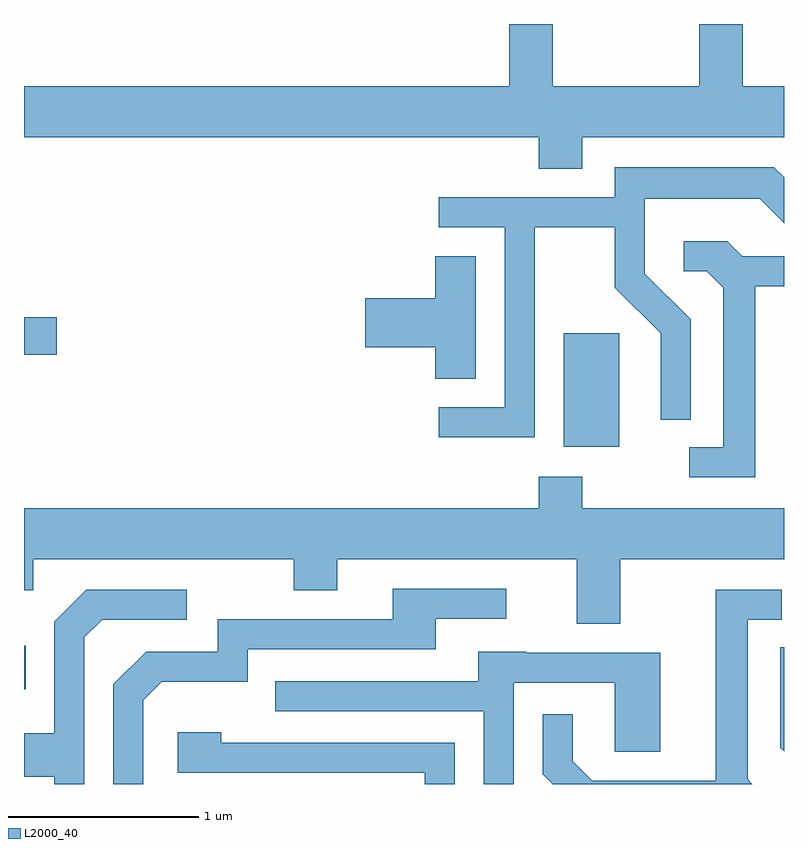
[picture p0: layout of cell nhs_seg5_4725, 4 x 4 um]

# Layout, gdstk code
import gdstk
lib = gdstk.Library(unit=1e-6, precision=1e-09)
def R(c, l, rs):  # rectangles x0, y0, x1, y1
    for r in rs: c.add(gdstk.rectangle(r[:2], r[2:], *l))
def P(c, l, *ps):  # polygons
    for p in ps: c.add(gdstk.Polygon(p, *l))
L2000_40 = (2000, 40)

nhs_seg5_4725 = lib.new_cell('nhs_seg5_4725')
R(nhs_seg5_4725, L2000_40, [(325.611,1440.571,325.619,1440.799), (328.451,1441.846,328.744,1442.444), (325.611,1442.331,325.784,1442.529)])
P(nhs_seg5_4725, L2000_40, [(328.321,1443.311),(328.549,1443.311),(328.549,1443.476),(329.611,1443.476),(329.611,1443.744),(329.394,1443.744),(329.394,1444.072),(329.166,1444.072),(329.166,1443.744),(328.394,1443.744),(328.394,1444.072),(328.166,1444.072),(328.166,1443.744),(325.611,1443.744),(325.611,1443.476),(328.321,1443.476)],
  [(328.299,1443.001),(328.721,1443.001),(328.721,1442.684),(328.961,1442.444),(328.961,1441.988),(329.119,1441.988),(329.119,1442.517),(328.879,1442.757),(328.879,1443.151),(329.484,1443.151),(329.611,1443.024),(329.611,1443.265),(329.557,1443.319),(328.721,1443.319),(328.721,1443.159),(327.793,1443.159),(327.793,1443.001),(328.141,1443.001),(328.141,1442.054),(327.793,1442.054),(327.793,1441.896),(328.299,1441.896)],
  [(329.459,1442.691),(329.611,1442.691),(329.611,1442.849),(329.392,1442.849),(329.312,1442.929),(329.083,1442.929),(329.083,1442.771),(329.204,1442.771),(329.291,1442.684),(329.291,1441.844),(329.113,1441.844),(329.113,1441.686),(329.459,1441.686)],
  [(327.989,1442.849),(327.776,1442.849),(327.776,1442.629),(327.406,1442.629),(327.406,1442.371),(327.776,1442.371),(327.776,1442.206),(327.989,1442.206)],
  [(328.749,1441.256),(329.611,1441.256),(329.611,1441.524),(328.549,1441.524),(328.549,1441.689),(328.321,1441.689),(328.321,1441.524),(325.611,1441.524),(325.611,1441.091),(325.659,1441.091),(325.659,1441.256),(327.031,1441.256),(327.031,1441.091),(327.259,1441.091),(327.259,1441.256),(328.521,1441.256),(328.521,1440.916),(328.749,1440.916)],
  [(326.239,1440.514),(326.337,1440.611),(326.789,1440.611),(326.789,1440.781),(327.779,1440.781),(327.779,1440.941),(328.148,1440.941),(328.148,1441.099),(327.551,1441.099),(327.551,1440.939),(326.631,1440.939),(326.631,1440.769),(326.254,1440.769),(326.081,1440.597),(326.081,1440.072),(326.239,1440.072)],
  [(325.929,1440.844),(326.022,1440.936),(326.468,1440.936),(326.468,1441.094),(325.939,1441.094),(325.771,1440.927),(325.771,1440.339),(325.611,1440.339),(325.611,1440.111),(325.771,1440.111),(325.771,1440.072),(325.929,1440.072)],
  [(329.419,1440.097),(329.419,1440.936),(329.598,1440.936),(329.598,1441.094),(329.251,1441.094),(329.251,1440.089),(328.602,1440.089),(328.499,1440.192),(328.499,1440.438),(328.341,1440.438),(328.341,1440.124),(328.393,1440.072),(329.444,1440.072)],
  [(329.611,1440.793),(329.591,1440.793),(329.591,1440.264),(329.611,1440.244)],
  [(328.189,1440.606),(328.721,1440.606),(328.721,1440.241),(328.959,1440.241),(328.959,1440.764),(328.255,1440.764),(328.255,1440.769),(328.001,1440.769),(328.001,1440.614),(326.933,1440.614),(326.933,1440.456),(328.031,1440.456),(328.031,1440.072),(328.189,1440.072)],
  [(327.879,1440.289),(326.649,1440.289),(326.649,1440.344),(326.421,1440.344),(326.421,1440.131),(327.721,1440.131),(327.721,1440.072),(327.879,1440.072)])

lib.write_gds('nhs_seg5_4725.gds')
